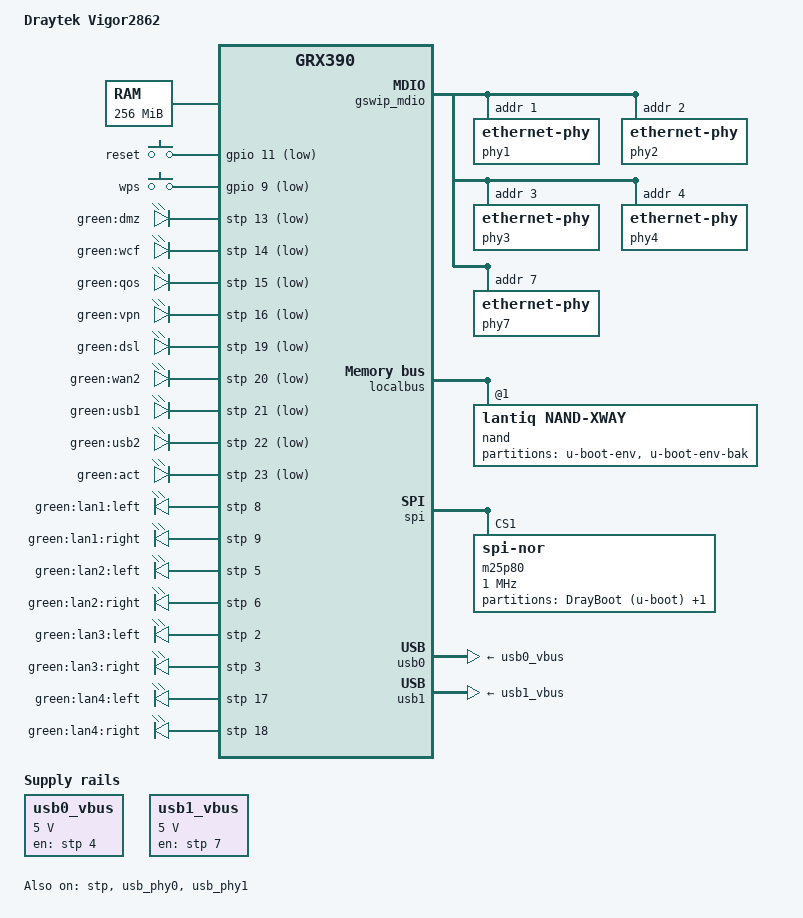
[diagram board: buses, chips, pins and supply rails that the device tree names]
#include "xrx330.dtsi"
#include <dt-bindings/mips/lantiq_rcu_gphy.h>
#include <dt-bindings/input/input.h>
#include <dt-bindings/gpio/gpio.h>

/ {
	compatible = "draytek,vigor2862", "lantiq,xway", "lantiq,grx390";
	model = "Draytek Vigor2862";

	aliases {
		led-boot = &led_act;
		led-failsafe = &led_act;
		led-running = &led_act;
		led-upgrade = &led_act;

		led-dsl = &led_dsl;
		led-internet = &led_wan;
	};

	chosen {
		bootargs = "console=ttyLTQ0,115200";
	};

	memory@0 {
		device_type = "memory";
		reg = <0x00 0x10000000>;
	};

	keys {
		compatible = "gpio-keys-polled";
		poll-interval = <100>;

		reset {
			label = "reset";
			gpios = <&gpio 11 GPIO_ACTIVE_LOW>;
			linux,code = <KEY_RESTART>;
		};

		// button functions, but hidden behind the plastic cover
		wps {
			label = "wps";
			gpios = <&gpio 9 GPIO_ACTIVE_LOW>;
			linux,code = <KEY_WPS_BUTTON>;
		};
	};

	leds {
		compatible = "gpio-leds";

		dmz {
			label = "green:dmz";
			gpios = <&stp 13 GPIO_ACTIVE_LOW>;
		};

		wcf {
			label = "green:wcf";
			gpios = <&stp 14 GPIO_ACTIVE_LOW>;
		};

		qos {
			label = "green:qos";
			gpios = <&stp 15 GPIO_ACTIVE_LOW>;
		};

		vpn {
			label = "green:vpn";
			gpios = <&stp 16 GPIO_ACTIVE_LOW>;
		};

		led_dsl: dsl {
			label = "green:dsl";
			gpios = <&stp 19 GPIO_ACTIVE_LOW>;
		};

		led_wan: wan2 {
			label = "green:wan2";
			gpios = <&stp 20 GPIO_ACTIVE_LOW>;
		};

		led_usb1: usb1 {
			label = "green:usb1";
			gpios = <&stp 21 GPIO_ACTIVE_LOW>;
			trigger-sources = <&ehci_port1>;
			linux,default-trigger = "usbport";
		};

		led_usb2: usb2 {
			label = "green:usb2";
			gpios = <&stp 22 GPIO_ACTIVE_LOW>;
			trigger-sources = <&ehci_port2>;
			linux,default-trigger = "usbport";
		};

		led_act: act {
			label = "green:act";
			gpios = <&stp 23 GPIO_ACTIVE_LOW>;
		};


		// should we call these act/link instead of left/right?
		lan1-left {
			label = "green:lan1:left";
			gpios = <&stp 8 GPIO_ACTIVE_HIGH>;
		};

		lan1-right {
			label = "green:lan1:right";
			gpios = <&stp 9 GPIO_ACTIVE_HIGH>;
		};

		lan2-left {
			label = "green:lan2:left";
			gpios = <&stp 5 GPIO_ACTIVE_HIGH>;
		};

		lan2-right {
			label = "green:lan2:right";
			gpios = <&stp 6 GPIO_ACTIVE_HIGH>;
		};

		lan3-left {
			label = "green:lan3:left";
			gpios = <&stp 2 GPIO_ACTIVE_HIGH>;
		};

		lan3-right {
			label = "green:lan3:right";
			gpios = <&stp 3 GPIO_ACTIVE_HIGH>;
		};

		lan4-left {
			label = "green:lan4:left";
			gpios = <&stp 17 GPIO_ACTIVE_HIGH>;
		};

		lan4-right {
			label = "green:lan4:right";
			gpios = <&stp 18 GPIO_ACTIVE_HIGH>;
		};
	};

	usb0_vbus: regulator-usb0-vbus {
		compatible = "regulator-fixed";

		regulator-name = "USB0_VBUS";

		regulator-min-microvolt = <5000000>;
		regulator-max-microvolt = <5000000>;

		gpios = <&stp 4 GPIO_ACTIVE_HIGH>;
		enable-active-high;
	};

	usb1_vbus: regulator-usb1-vbus {
		compatible = "regulator-fixed";
		regulator-name = "USB1_VBUS";

		regulator-min-microvolt = <5000000>;
		regulator-max-microvolt = <5000000>;

		gpios = <&stp 7 GPIO_ACTIVE_HIGH>;
		enable-active-high;
	};
};

&gphy0 {
	lantiq,gphy-mode = <GPHY_MODE_GE>;
};

&gphy1 {
	lantiq,gphy-mode = <GPHY_MODE_GE>;
};

&gphy2 {
	lantiq,gphy-mode = <GPHY_MODE_GE>;
};

&gphy3 {
	lantiq,gphy-mode = <GPHY_MODE_GE>;
};


&gswip {
	pinctrl-0 = <&mdio_pins>;
	pinctrl-names = "default";
};


&gswip_mdio {
	phy1: ethernet-phy@1 {
		reg = <0x01>;
	};

	phy2: ethernet-phy@2 {
		reg = <0x02>;
	};

	phy3: ethernet-phy@3 {
		reg = <0x03>;
	};

	phy4: ethernet-phy@4 {
		reg = <0x04>;
	};

	// ar8035 external phy
	phy7: ethernet-phy@7 {
		reg = <0x07>;
	};
};

/*
 * port 1 2 3 4 6 are internal;
 * 0 can do all types of rgmii in addition to rmii and gmii;
 * 5 can do all types of rgmii in addition to rmii and internal;
 */
&gswip_ports {
	port@1 {
		reg = <1>;
		label = "lan4";
		phy-mode = "internal";
		phy-handle = <&phy3>;
	};

	port@2 {
		reg = <2>;
		label = "lan1";
		phy-mode = "internal";
		phy-handle = <&phy1>;
	};

	port@3 {
		reg = <3>;
		label = "lan2";
		phy-mode = "internal";
		phy-handle = <&phy4>;
	};

	port@4 {
		reg = <4>;
		label = "lan3";
		phy-mode = "internal";
		phy-handle = <&phy2>;
	};

	port@5 {
		reg = <5>;
		label = "wan";
		phy-mode = "rgmii";
		phy-handle = <&phy7>;
	};
};

&localbus {
	// not fully working yet, partitions don't show up
	nand@1 {
		compatible = "lantiq,nand-xway";
		bank-width = <2>;
		reg = <1 0x0 0x2000000>;

		lantiq,cs = <1>;

		pinctrl-0 = <&nand_pins>, <&nand_cs1_pins>;
		pinctrl-names = "default";

		nand-on-flash-bbt;

		// ecc?

		partitions {
			compatible = "fixed-partitions";
			#address-cells = <1>;
			#size-cells = <1>;

			partition@100000 {
				reg = <0x100000 0x4000>;
				label = "u-boot-env";
				read-only;
			};

			partition@140000 {
				reg = <0x140000 0x4000>;
				label = "u-boot-env-bak";
				read-only;
			};
		};
	};
};


&spi {
	status = "okay";

	m25p80@4 {
		#address-cells = <1>;
		#size-cells = <1>;
		compatible = "jedec,spi-nor";
		reg = <1>;
		spi-max-frequency = <1000000>; // 1 MHz

		m25,fast-read;

		// pinctrl?

		partitions {
			compatible = "fixed-partitions";
			#address-cells = <1>;
			#size-cells = <1>;

			partition@0 {
				reg = <0x00 0x5000>;
				label = "DrayBoot (u-boot)";
				read-only;
			};

			partition@5000 {
				reg = <0x5000 0x2c000>;
				label = "gphy-firmware";
				read-only;
			};
		};
	};
};

&stp {
	status = "okay";
};

&usb_phy0 {
	status = "okay";
};

&usb_phy1 {
	status = "okay";
};

&usb0 {
	status = "okay";
	vbus-supply = <&usb0_vbus>;
};

&usb1 {
	status = "okay";
	vbus-supply = <&usb1_vbus>;
};
